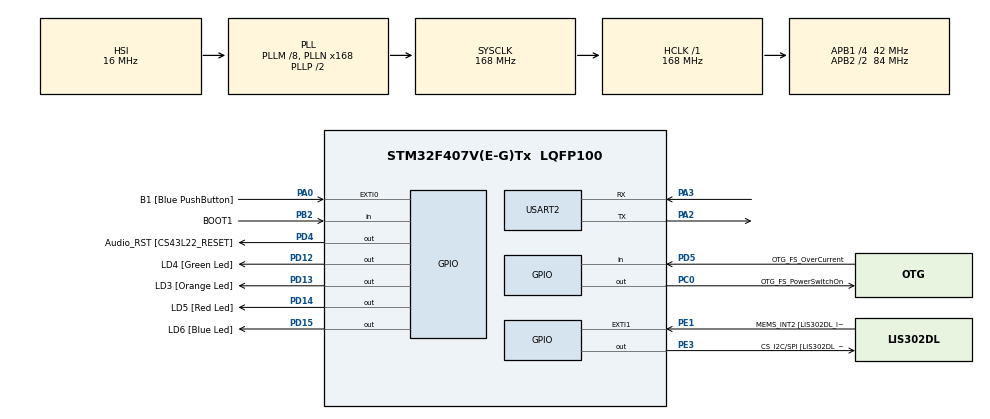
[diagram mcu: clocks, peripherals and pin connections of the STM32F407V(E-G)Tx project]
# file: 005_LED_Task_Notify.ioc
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Mcu.Family=STM32F4
Mcu.Name=STM32F407V(E-G)Tx
Mcu.Package=LQFP100
NVIC.PriorityGroup=NVIC_PRIORITYGROUP_4
NVIC.TIM6_DAC_IRQn=true\:15\:0\:false\:false\:true\:false\:true\:true
NVIC.TimeBase=TIM6_DAC_IRQn
NVIC.TimeBaseIP=TIM6
PA0-WKUP.GPIO_Label=B1 [Blue PushButton]
PA0-WKUP.Signal=GPXTI0
PA10.GPIO_Label=OTG_FS_ID
PA10.GPIO_Mode=GPIO_MODE_AF_PP
PA10.GPIO_PuPd=GPIO_NOPULL
PA10.GPIO_Speed=GPIO_SPEED_FREQ_LOW
PA10.Signal=USB_OTG_FS_ID
PA11.GPIO_Label=OTG_FS_DM
PA11.GPIO_Mode=GPIO_MODE_AF_PP
PA11.GPIO_PuPd=GPIO_NOPULL
PA11.GPIO_Speed=GPIO_SPEED_FREQ_LOW
PA11.Signal=USB_OTG_FS_DM
PA12.GPIO_Label=OTG_FS_DP
PA12.GPIO_Mode=GPIO_MODE_AF_PP
PA12.GPIO_PuPd=GPIO_NOPULL
PA12.GPIO_Speed=GPIO_SPEED_FREQ_LOW
PA12.Signal=USB_OTG_FS_DP
PA13.GPIO_Label=SWDIO
PA13.Signal=SYS_JTMS-SWDIO
PA14.GPIO_Label=SWCLK
PA14.Signal=SYS_JTCK-SWCLK
PA2.Mode=Asynchronous
PA2.Signal=USART2_TX
PA3.Mode=Asynchronous
PA3.Signal=USART2_RX
PA4.GPIO_Label=I2S3_WS [CS43L22_LRCK]
PA4.GPIO_Mode=GPIO_MODE_AF_PP
PA4.GPIO_PuPd=GPIO_NOPULL
PA4.GPIO_Speed=GPIO_SPEED_FREQ_LOW
PA4.Signal=I2S3_WS
PA5.GPIO_Label=SPI1_SCK [LIS302DL_SCL/SPC]
PA5.GPIO_Mode=GPIO_MODE_AF_PP
PA5.GPIO_PuPd=GPIO_NOPULL
PA5.GPIO_Speed=GPIO_SPEED_FREQ_LOW
PA5.Signal=SPI1_SCK
PA6.GPIO_Label=SPI1_MISO [LIS302DL_SDO]
PA6.GPIO_Mode=GPIO_MODE_AF_PP
PA6.GPIO_PuPd=GPIO_NOPULL
PA6.GPIO_Speed=GPIO_SPEED_FREQ_LOW
PA6.Signal=SPI1_MISO
PA7.GPIO_Label=SPI1_MOSI [LIS302DL_SDA/SDI/SDO]
PA7.GPIO_Mode=GPIO_MODE_AF_PP
PA7.GPIO_PuPd=GPIO_NOPULL
PA7.GPIO_Speed=GPIO_SPEED_FREQ_LOW
PA7.Signal=SPI1_MOSI
PA9.GPIO_Label=VBUS_FS
PA9.GPIO_Mode=GPIO_MODE_INPUT
PA9.GPIO_PuPd=GPIO_NOPULL
PA9.Signal=USB_OTG_FS_VBUS
PB10.GPIO_Label=CLK_IN [MP45DT02_CLK]
PB10.GPIO_Mode=GPIO_MODE_AF_PP
PB10.GPIO_PuPd=GPIO_NOPULL
PB10.GPIO_Speed=GPIO_SPEED_FREQ_LOW
PB10.Signal=I2S2_CK
PB2.GPIO_Label=BOOT1
PB2.GPIO_Mode=GPIO_MODE_INPUT
PB2.GPIO_PuPd=GPIO_NOPULL
PB2.Signal=GPIO_Input
PB3.GPIO_Label=SWO
PB3.Signal=SYS_JTDO-SWO
PB6.GPIO_Label=Audio_SCL [CS43L22_SCL]
PB6.GPIO_Mode=GPIO_MODE_AF_OD
PB6.GPIO_PuPd=GPIO_NOPULL
PB6.GPIO_Speed=GPIO_SPEED_FREQ_LOW
PB6.Signal=I2C1_SCL
PB9.GPIO_Label=Audio_SDA [CS43L22_SDA]
PB9.GPIO_Mode=GPIO_MODE_AF_OD
PB9.GPIO_PuPd=GPIO_NOPULL
PB9.GPIO_Speed=GPIO_SPEED_FREQ_LOW
PB9.Signal=I2C1_SDA
PC0.GPIO_Label=OTG_FS_PowerSwitchOn
PC0.GPIO_PuPd=GPIO_NOPULL
PC0.GPIO_Speed=GPIO_SPEED_FREQ_LOW
PC0.PinState=GPIO_PIN_SET
PC0.Signal=GPIO_Output
PC10.GPIO_Label=I2S3_SCK [CS43L22_SCLK]
PC10.GPIO_Mode=GPIO_MODE_AF_PP
PC10.GPIO_PuPd=GPIO_NOPULL
PC10.GPIO_Speed=GPIO_SPEED_FREQ_LOW
PC10.Signal=I2S3_CK
PC12.GPIO_Label=I2S3_SD [CS43L22_SDIN]
PC12.GPIO_Mode=GPIO_MODE_AF_PP
PC12.GPIO_PuPd=GPIO_NOPULL
PC12.GPIO_Speed=GPIO_SPEED_FREQ_LOW
PC12.Signal=I2S3_SD
PC14-OSC32_IN.GPIO_Label=PC14-OSC32_IN
PC14-OSC32_IN.Signal=RCC_OSC32_IN
PC15-OSC32_OUT.GPIO_Label=PC15-OSC32_OUT
PC15-OSC32_OUT.Signal=RCC_OSC32_OUT
PC3.GPIO_Label=PDM_OUT [MP45DT02_DOUT]
PC3.GPIO_Mode=GPIO_MODE_AF_PP
PC3.GPIO_PuPd=GPIO_NOPULL
PC3.GPIO_Speed=GPIO_SPEED_FREQ_LOW
PC3.Signal=I2S2_SD
PC7.GPIO_Label=I2S3_MCK [CS43L22_MCLK]
PC7.GPIO_Mode=GPIO_MODE_AF_PP
PC7.GPIO_PuPd=GPIO_NOPULL
PC7.GPIO_Speed=GPIO_SPEED_FREQ_LOW
PC7.Signal=I2S3_MCK
PD12.GPIO_Label=LD4 [Green Led]
PD12.GPIO_PuPd=GPIO_NOPULL
PD12.GPIO_Speed=GPIO_SPEED_FREQ_LOW
PD12.Signal=GPIO_Output
PD13.GPIO_Label=LD3 [Orange Led]
PD13.GPIO_PuPd=GPIO_NOPULL
PD13.GPIO_Speed=GPIO_SPEED_FREQ_LOW
PD13.Signal=GPIO_Output
PD14.GPIO_Label=LD5 [Red Led]
PD14.GPIO_PuPd=GPIO_NOPULL
PD14.GPIO_Speed=GPIO_SPEED_FREQ_LOW
PD14.Signal=GPIO_Output
PD15.GPIO_Label=LD6 [Blue Led]
PD15.GPIO_PuPd=GPIO_NOPULL
PD15.GPIO_Speed=GPIO_SPEED_FREQ_LOW
PD15.Signal=GPIO_Output
PD4.GPIO_Label=Audio_RST [CS43L22_RESET]
PD4.GPIO_PuPd=GPIO_NOPULL
PD4.GPIO_Speed=GPIO_SPEED_FREQ_LOW
PD4.Signal=GPIO_Output
PD5.GPIO_Label=OTG_FS_OverCurrent
PD5.GPIO_Mode=GPIO_MODE_INPUT
PD5.GPIO_PuPd=GPIO_NOPULL
PD5.Signal=GPIO_Input
PE1.GPIO_Label=MEMS_INT2 [LIS302DL_INT2]
PE1.GPIO_ModeDefaultEXTI=GPIO_MODE_EVT_RISING
PE1.GPIO_PuPd=GPIO_NOPULL
PE1.Signal=GPXTI1
PE3.GPIO_Label=CS_I2C/SPI [LIS302DL_CS_I2C/SPI]
PE3.GPIO_PuPd=GPIO_NOPULL
PE3.GPIO_Speed=GPIO_SPEED_FREQ_LOW
PE3.Signal=GPIO_Output
PH0-OSC_IN.GPIO_Label=PH0-OSC_IN
PH0-OSC_IN.Signal=RCC_OSC_IN
PH1-OSC_OUT.GPIO_Label=PH1-OSC_OUT
PH1-OSC_OUT.Signal=RCC_OSC_OUT
ProjectManager.HeapSize=0x200
ProjectManager.StackSize=0x400
ProjectManager.TargetToolchain=STM32CubeIDE
RCC.48MHZClocksFreq_Value=48000000
RCC.AHBFreq_Value=168000000
RCC.APB1CLKDivider=RCC_HCLK_DIV4
RCC.APB1Freq_Value=42000000
RCC.APB1TimFreq_Value=84000000
RCC.APB2CLKDivider=RCC_HCLK_DIV2
RCC.APB2Freq_Value=84000000
RCC.APB2TimFreq_Value=168000000
RCC.CortexFreq_Value=168000000
RCC.HCLKFreq_Value=168000000
RCC.HSE_VALUE=8000000
RCC.HSI_VALUE=16000000
RCC.LSE_VALUE=32768
RCC.PLLM=8
RCC.PLLN=168
RCC.PLLQ=7
RCC.SYSCLKFreq_VALUE=168000000
RCC.SYSCLKSource=RCC_SYSCLKSOURCE_PLLCLK
RCC.VCOOutputFreq_Value=336000000
USART2.VirtualMode=VM_ASYNC
VP_SYS_VS_tim6.Mode=TIM6
board=STM32F407G-DISC1

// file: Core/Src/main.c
/* USER CODE BEGIN Header */
/**
  ******************************************************************************
  * @file           : main.c
  * @brief          : Main program body
  ******************************************************************************
  * @attention
  *
  * Copyright (c) 2025 STMicroelectronics.
  * All rights reserved.
  *
  * This software is licensed under terms that can be found in the LICENSE file
  * in the root directory of this software component.
  * If no LICENSE file comes with this software, it is provided AS-IS.
  *
  ******************************************************************************
  */
/* USER CODE END Header */
#include "main.h"

/* USER CODE BEGIN Includes */
	#include<stdio.h>
	#include"FreeRTOS.h"
	#include"task.h"

/* USER CODE END Includes */

UART_HandleTypeDef huart2;

/* USER CODE BEGIN PV */
#define DWT_CTRL  (*(volatile uint32_t*)0xE0001000)

/* USER CODE END PV */

void SystemClock_Config(void);
static void MX_GPIO_Init(void);
static void MX_USART2_UART_Init(void);
/* USER CODE BEGIN PFP */
static void led_green_handler(void* parameters);
static void led_orange_handler(void* parameters);
static void led_red_handler(void* parameters);
static void button_handler(void* parameters);

extern void SEGGER_UART_init(uint32_t);

/* USER CODE END PFP */

/* USER CODE BEGIN 0 */
TaskHandle_t ledg_task_handle;
TaskHandle_t ledo_task_handle;
TaskHandle_t ledr_task_handle;
TaskHandle_t btn_task_handle;

TaskHandle_t volatile next_task_handle = NULL;

/* USER CODE END 0 */

int main(void)
{

  /* USER CODE BEGIN 1 */

	BaseType_t status;

  /* USER CODE END 1 */

  /* MCU Configuration--------------------------------------------------------*/

  /* Reset of all peripherals, Initializes the Flash interface and the Systick. */
  HAL_Init();

  /* Configure the system clock */
  SystemClock_Config();

  /* Initialize all configured peripherals */
  MX_GPIO_Init();
  MX_USART2_UART_Init();
  /* USER CODE BEGIN 2 */

  SEGGER_UART_init(500000);

  //Enable the CYCCNT counter
     DWT_CTRL |= (1<<0);

    SEGGER_SYSVIEW_Conf();

   // SEGGER_SYSVIEW_Start();

  	status=xTaskCreate(led_green_handler,"LED-Green_task",200,NULL,3,&ledg_task_handle);
  	configASSERT(status == pdPASS);
  	next_task_handle = ledg_task_handle;

  	status=xTaskCreate(led_orange_handler,"LED-Orange_task",200,NULL,2,&ledo_task_handle);
  	configASSERT(status == pdPASS);

  	status=xTaskCreate(led_red_handler,"LED-Red_task",200,NULL,1,&ledr_task_handle);
  	configASSERT(status == pdPASS);

  	status=xTaskCreate(button_handler,"Button_task",200,NULL,4,&btn_task_handle);
  	configASSERT(status == pdPASS);

  	//start the freeRTOS scheduler
  	vTaskStartScheduler();

  /* USER CODE END 2 */

  /* Infinite loop */
  while (1)
  {

  }
}

void SystemClock_Config(void)
{
  RCC_OscInitTypeDef RCC_OscInitStruct = {0};
  RCC_ClkInitTypeDef RCC_ClkInitStruct = {0};

  /** Configure the main internal regulator output voltage
  */
  __HAL_RCC_PWR_CLK_ENABLE();
  __HAL_PWR_VOLTAGESCALING_CONFIG(PWR_REGULATOR_VOLTAGE_SCALE1);

  /** Initializes the RCC Oscillators according to the specified parameters
  * in the RCC_OscInitTypeDef structure.
  */
  RCC_OscInitStruct.OscillatorType = RCC_OSCILLATORTYPE_HSI;
  RCC_OscInitStruct.HSIState = RCC_HSI_ON;
  RCC_OscInitStruct.HSICalibrationValue = RCC_HSICALIBRATION_DEFAULT;
  RCC_OscInitStruct.PLL.PLLState = RCC_PLL_ON;
  RCC_OscInitStruct.PLL.PLLSource = RCC_PLLSOURCE_HSI;
  RCC_OscInitStruct.PLL.PLLM = 8;
  RCC_OscInitStruct.PLL.PLLN = 168;
  RCC_OscInitStruct.PLL.PLLP = RCC_PLLP_DIV2;
  RCC_OscInitStruct.PLL.PLLQ = 7;
  if (HAL_RCC_OscConfig(&RCC_OscInitStruct) != HAL_OK)
  {
    Error_Handler();
  }

  /** Initializes the CPU, AHB and APB buses clocks
  */
  RCC_ClkInitStruct.ClockType = RCC_CLOCKTYPE_HCLK|RCC_CLOCKTYPE_SYSCLK
                              |RCC_CLOCKTYPE_PCLK1|RCC_CLOCKTYPE_PCLK2;
  RCC_ClkInitStruct.SYSCLKSource = RCC_SYSCLKSOURCE_PLLCLK;
  RCC_ClkInitStruct.AHBCLKDivider = RCC_SYSCLK_DIV1;
  RCC_ClkInitStruct.APB1CLKDivider = RCC_HCLK_DIV4;
  RCC_ClkInitStruct.APB2CLKDivider = RCC_HCLK_DIV2;

  if (HAL_RCC_ClockConfig(&RCC_ClkInitStruct, FLASH_LATENCY_5) != HAL_OK)
  {
    Error_Handler();
  }
}

static void MX_USART2_UART_Init(void)
{

  huart2.Instance = USART2;
  huart2.Init.BaudRate = 115200;
  huart2.Init.WordLength = UART_WORDLENGTH_8B;
  huart2.Init.StopBits = UART_STOPBITS_1;
  huart2.Init.Parity = UART_PARITY_NONE;
  huart2.Init.Mode = UART_MODE_TX_RX;
  huart2.Init.HwFlowCtl = UART_HWCONTROL_NONE;
  huart2.Init.OverSampling = UART_OVERSAMPLING_16;
  if (HAL_UART_Init(&huart2) != HAL_OK)
  {
    Error_Handler();
  }

}

static void MX_GPIO_Init(void)
{
  GPIO_InitTypeDef GPIO_InitStruct = {0};

  /* GPIO Ports Clock Enable */
  __HAL_RCC_GPIOE_CLK_ENABLE();
  __HAL_RCC_GPIOC_CLK_ENABLE();
  __HAL_RCC_GPIOH_CLK_ENABLE();
  __HAL_RCC_GPIOA_CLK_ENABLE();
  __HAL_RCC_GPIOB_CLK_ENABLE();
  __HAL_RCC_GPIOD_CLK_ENABLE();

  /*Configure GPIO pin Output Level */
  HAL_GPIO_WritePin(CS_I2C_SPI_GPIO_Port, CS_I2C_SPI_Pin, GPIO_PIN_RESET);

  /*Configure GPIO pin Output Level */
  HAL_GPIO_WritePin(OTG_FS_PowerSwitchOn_GPIO_Port, OTG_FS_PowerSwitchOn_Pin, GPIO_PIN_SET);

  /*Configure GPIO pin Output Level */
  HAL_GPIO_WritePin(GPIOD, LD4_Pin|LD3_Pin|LD5_Pin|LD6_Pin
                          |Audio_RST_Pin, GPIO_PIN_RESET);

  /*Configure GPIO pin : CS_I2C_SPI_Pin */
  GPIO_InitStruct.Pin = CS_I2C_SPI_Pin;
  GPIO_InitStruct.Mode = GPIO_MODE_OUTPUT_PP;
  GPIO_InitStruct.Pull = GPIO_NOPULL;
  GPIO_InitStruct.Speed = GPIO_SPEED_FREQ_LOW;
  HAL_GPIO_Init(CS_I2C_SPI_GPIO_Port, &GPIO_InitStruct);

  /*Configure GPIO pin : OTG_FS_PowerSwitchOn_Pin */
  GPIO_InitStruct.Pin = OTG_FS_PowerSwitchOn_Pin;
  GPIO_InitStruct.Mode = GPIO_MODE_OUTPUT_PP;
  GPIO_InitStruct.Pull = GPIO_NOPULL;
  GPIO_InitStruct.Speed = GPIO_SPEED_FREQ_LOW;
  HAL_GPIO_Init(OTG_FS_PowerSwitchOn_GPIO_Port, &GPIO_InitStruct);

  /*Configure GPIO pin : PDM_OUT_Pin */
  GPIO_InitStruct.Pin = PDM_OUT_Pin;
  GPIO_InitStruct.Mode = GPIO_MODE_AF_PP;
  GPIO_InitStruct.Pull = GPIO_NOPULL;
  GPIO_InitStruct.Speed = GPIO_SPEED_FREQ_LOW;
  GPIO_InitStruct.Alternate = GPIO_AF5_SPI2;
  HAL_GPIO_Init(PDM_OUT_GPIO_Port, &GPIO_InitStruct);

  /*Configure GPIO pin : B1_Pin */
  GPIO_InitStruct.Pin = B1_Pin;
  GPIO_InitStruct.Mode = GPIO_MODE_IT_RISING;
  GPIO_InitStruct.Pull = GPIO_NOPULL;
  HAL_GPIO_Init(B1_GPIO_Port, &GPIO_InitStruct);

  /*Configure GPIO pin : I2S3_WS_Pin */
  GPIO_InitStruct.Pin = I2S3_WS_Pin;
  GPIO_InitStruct.Mode = GPIO_MODE_AF_PP;
  GPIO_InitStruct.Pull = GPIO_NOPULL;
  GPIO_InitStruct.Speed = GPIO_SPEED_FREQ_LOW;
  GPIO_InitStruct.Alternate = GPIO_AF6_SPI3;
  HAL_GPIO_Init(I2S3_WS_GPIO_Port, &GPIO_InitStruct);

  /*Configure GPIO pins : SPI1_SCK_Pin SPI1_MISO_Pin SPI1_MOSI_Pin */
  GPIO_InitStruct.Pin = SPI1_SCK_Pin|SPI1_MISO_Pin|SPI1_MOSI_Pin;
  GPIO_InitStruct.Mode = GPIO_MODE_AF_PP;
  GPIO_InitStruct.Pull = GPIO_NOPULL;
  GPIO_InitStruct.Speed = GPIO_SPEED_FREQ_LOW;
  GPIO_InitStruct.Alternate = GPIO_AF5_SPI1;
  HAL_GPIO_Init(GPIOA, &GPIO_InitStruct);

  /*Configure GPIO pin : BOOT1_Pin */
  GPIO_InitStruct.Pin = BOOT1_Pin;
  GPIO_InitStruct.Mode = GPIO_MODE_INPUT;
  GPIO_InitStruct.Pull = GPIO_NOPULL;
  HAL_GPIO_Init(BOOT1_GPIO_Port, &GPIO_InitStruct);

  /*Configure GPIO pin : CLK_IN_Pin */
  GPIO_InitStruct.Pin = CLK_IN_Pin;
  GPIO_InitStruct.Mode = GPIO_MODE_AF_PP;
  GPIO_InitStruct.Pull = GPIO_NOPULL;
  GPIO_InitStruct.Speed = GPIO_SPEED_FREQ_LOW;
  GPIO_InitStruct.Alternate = GPIO_AF5_SPI2;
  HAL_GPIO_Init(CLK_IN_GPIO_Port, &GPIO_InitStruct);

  /*Configure GPIO pins : LD4_Pin LD3_Pin LD5_Pin LD6_Pin
                           Audio_RST_Pin */
  GPIO_InitStruct.Pin = LD4_Pin|LD3_Pin|LD5_Pin|LD6_Pin
                          |Audio_RST_Pin;
  GPIO_InitStruct.Mode = GPIO_MODE_OUTPUT_PP;
  GPIO_InitStruct.Pull = GPIO_NOPULL;
  GPIO_InitStruct.Speed = GPIO_SPEED_FREQ_LOW;
  HAL_GPIO_Init(GPIOD, &GPIO_InitStruct);

  /*Configure GPIO pins : I2S3_MCK_Pin I2S3_SCK_Pin I2S3_SD_Pin */
  GPIO_InitStruct.Pin = I2S3_MCK_Pin|I2S3_SCK_Pin|I2S3_SD_Pin;
  GPIO_InitStruct.Mode = GPIO_MODE_AF_PP;
  GPIO_InitStruct.Pull = GPIO_NOPULL;
  GPIO_InitStruct.Speed = GPIO_SPEED_FREQ_LOW;
  GPIO_InitStruct.Alternate = GPIO_AF6_SPI3;
  HAL_GPIO_Init(GPIOC, &GPIO_InitStruct);

  /*Configure GPIO pin : VBUS_FS_Pin */
  GPIO_InitStruct.Pin = VBUS_FS_Pin;
  GPIO_InitStruct.Mode = GPIO_MODE_INPUT;
  GPIO_InitStruct.Pull = GPIO_NOPULL;
  HAL_GPIO_Init(VBUS_FS_GPIO_Port, &GPIO_InitStruct);

  /*Configure GPIO pins : OTG_FS_ID_Pin OTG_FS_DM_Pin OTG_FS_DP_Pin */
  GPIO_InitStruct.Pin = OTG_FS_ID_Pin|OTG_FS_DM_Pin|OTG_FS_DP_Pin;
  GPIO_InitStruct.Mode = GPIO_MODE_AF_PP;
  GPIO_InitStruct.Pull = GPIO_NOPULL;
  GPIO_InitStruct.Speed = GPIO_SPEED_FREQ_LOW;
  GPIO_InitStruct.Alternate = GPIO_AF10_OTG_FS;
  HAL_GPIO_Init(GPIOA, &GPIO_InitStruct);

  /*Configure GPIO pin : OTG_FS_OverCurrent_Pin */
  GPIO_InitStruct.Pin = OTG_FS_OverCurrent_Pin;
  GPIO_InitStruct.Mode = GPIO_MODE_INPUT;
  GPIO_InitStruct.Pull = GPIO_NOPULL;
  HAL_GPIO_Init(OTG_FS_OverCurrent_GPIO_Port, &GPIO_InitStruct);

  /*Configure GPIO pins : Audio_SCL_Pin Audio_SDA_Pin */
  GPIO_InitStruct.Pin = Audio_SCL_Pin|Audio_SDA_Pin;
  GPIO_InitStruct.Mode = GPIO_MODE_AF_OD;
  GPIO_InitStruct.Pull = GPIO_NOPULL;
  GPIO_InitStruct.Speed = GPIO_SPEED_FREQ_LOW;
  GPIO_InitStruct.Alternate = GPIO_AF4_I2C1;
  HAL_GPIO_Init(GPIOB, &GPIO_InitStruct);

  /*Configure GPIO pin : MEMS_INT2_Pin */
  GPIO_InitStruct.Pin = MEMS_INT2_Pin;
  GPIO_InitStruct.Mode = GPIO_MODE_EVT_RISING;
  GPIO_InitStruct.Pull = GPIO_NOPULL;
  HAL_GPIO_Init(MEMS_INT2_GPIO_Port, &GPIO_InitStruct);

}

/* USER CODE BEGIN 4 */
static void led_green_handler(void* parameters)
{

	BaseType_t status;

	while(1)
	{

		SEGGER_SYSVIEW_PrintfTarget("Toggling green led");
		HAL_GPIO_TogglePin(GPIOD, LED_GREEN_PIN);
		status = xTaskNotifyWait(0,0,NULL,pdMS_TO_TICKS(1000));

		if(status == pdTRUE)
		{
			vTaskSuspendAll();
			next_task_handle = ledo_task_handle;
			xTaskResumeAll();
			HAL_GPIO_WritePin(GPIOD, LED_GREEN_PIN,GPIO_PIN_SET);
			SEGGER_SYSVIEW_PrintfTarget("Delete green task");
			vTaskDelete(NULL);

		}

	}

}

static void led_orange_handler(void* parameters)
{

	BaseType_t status;

	while(1)
	{

		SEGGER_SYSVIEW_PrintfTarget("Toggling orange led");
		HAL_GPIO_TogglePin(GPIOD, LED_ORANGE_PIN);
		status = xTaskNotifyWait(0,0,NULL,pdMS_TO_TICKS(800));

		if(status == pdTRUE)
		{
					vTaskSuspendAll();
					next_task_handle = ledr_task_handle;
					xTaskResumeAll();
					HAL_GPIO_WritePin(GPIOD, LED_ORANGE_PIN,GPIO_PIN_SET);
					SEGGER_SYSVIEW_PrintfTarget("Delete orange task");
					vTaskDelete(NULL);

		}

	}

}

static void led_red_handler(void* parameters)
{

	BaseType_t status;

	while(1)
	{

		SEGGER_SYSVIEW_PrintfTarget("Toggling red led");
		HAL_GPIO_TogglePin(GPIOD, LED_RED_PIN);
		status = xTaskNotifyWait(0,0,NULL,pdMS_TO_TICKS(400));

		if(status == pdTRUE)
			{
				vTaskSuspendAll();
				next_task_handle = NULL;
				xTaskResumeAll();
				HAL_GPIO_WritePin(GPIOD, LED_RED_PIN,GPIO_PIN_SET);
				SEGGER_SYSVIEW_PrintfTarget("Delete red task");
				vTaskDelete(btn_task_handle);
				vTaskDelete(NULL);
				SEGGER_SYSVIEW_PrintfTarget("Delete button task");

		}

	}

}

static void button_handler(void* parameters)
{
	uint8_t btn_read = 0;
	uint8_t prev_read = 0;

	while(1)
	{
		btn_read = HAL_GPIO_ReadPin(GPIOA, GPIO_PIN_0);

		if(btn_read)
		{
			if(! prev_read)
				xTaskNotify(next_task_handle,0,eNoAction);
		}

		prev_read = btn_read;
		vTaskDelay(pdMS_TO_TICKS(10));

	}

}
/* USER CODE END 4 */

void HAL_TIM_PeriodElapsedCallback(TIM_HandleTypeDef *htim)
{
  if (htim->Instance == TIM6) {
    HAL_IncTick();
  }
}

void Error_Handler(void)
{
  __disable_irq();
  while (1)
  {
  }
}
